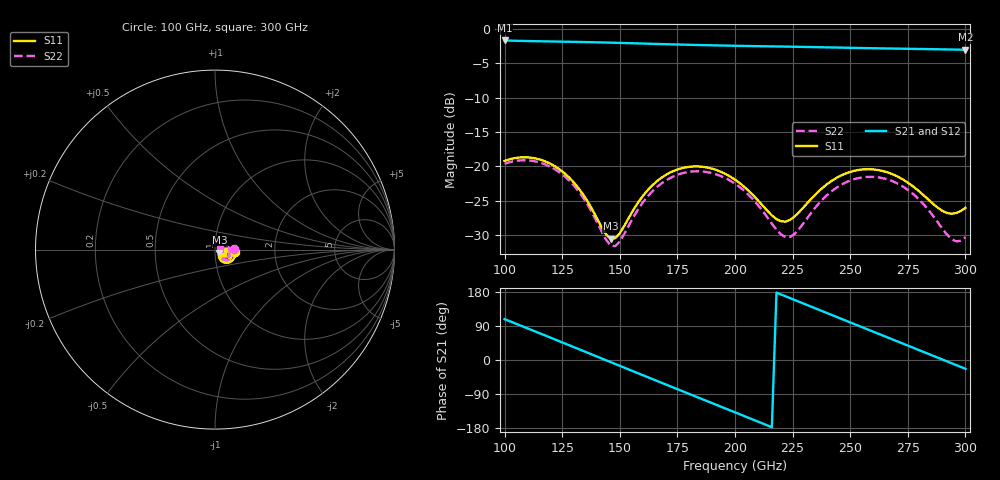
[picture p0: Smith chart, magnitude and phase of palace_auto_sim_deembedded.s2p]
! Created with skrf 1.11.0 (http://scikit-rf.org).
# GHz S DB R 50.0
!freq dBS11 angS11 dBS21 angS21 dBS12 angS12 dBS22 angS22
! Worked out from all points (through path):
!   101 points, 100 GHz to 300 GHz, reference 50 ohm
!   highest |S21| = -1.68 dB at 100 GHz (marker M1); lowest = -3.0 dB at 300 GHz (marker M2)
!   group delay of S21, straight-line fit = 6.82 ps
!   lowest |S11| = -30.6 dB at 146 GHz (marker M3), VSWR 1.06, Z = 52.5 - j1.74 ohm
!   |S11| at or under -10 dB: start of sweep to end of sweep
!   |S22| runs from -31.6 to -19.1 dB; largest |S21 - S12| = 8.6e-14
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100  -19.22 -6.6  -1.68 107.8  -1.68 107.8  -19.64 1.6
108  -18.69 -21.9  -1.75 88.2  -1.75 88.2  -19.12 -13.0
116  -19.09 -37.2  -1.80 68.6  -1.80 68.6  -19.53 -27.7
124  -20.49 -51.3  -1.85 48.9  -1.85 48.9  -20.93 -41.4
134  -24.08 -63.0  -1.91 24.2  -1.91 24.2  -24.53 -53.1
146  -30.57 -34.1  -2.00 -5.5  -2.00 -5.5  -31.54 -25.2
150  -29.76 -10.6  -2.03 -15.4  -2.03 -15.4  -30.97 0.8
156  -26.30 4.0  -2.09 -30.2  -2.09 -30.2  -27.35 18.0
168  -21.69 -4.0  -2.20 -59.8  -2.20 -59.8  -22.52 11.2
176  -20.37 -16.2  -2.27 -79.4  -2.27 -79.4  -21.13 -0.5
184  -20.03 -29.3  -2.34 -99.0  -2.34 -99.0  -20.73 -13.3
200  -21.95 -51.6  -2.45 -138.1  -2.45 -138.1  -22.53 -36.5
212  -25.73 -54.4  -2.52 -167.5  -2.52 -167.5  -26.52 -42.9
222  -28.06 -29.4  -2.57 168.0  -2.57 168.0  -30.32 -17.6
226  -27.29 -17.3  -2.60 158.1  -2.60 158.1  -29.81 -0.4
234  -24.42 -8.2  -2.64 138.5  -2.64 138.5  -26.38 14.4
244  -21.70 -14.8  -2.71 113.9  -2.71 113.9  -23.13 8.4
252  -20.65 -25.2  -2.76 94.3  -2.76 94.3  -21.86 -2.5
268  -21.12 -47.4  -2.85 55.2  -2.85 55.2  -22.13 -27.0
284  -24.88 -55.3  -2.94 16.0  -2.94 16.0  -26.38 -42.0
294  -26.92 -36.6  -3.00 -8.5  -3.00 -8.5  -30.62 -23.5
300  -26.06 -22.6  -3.04 -23.2  -3.04 -23.2  -30.36 2.0
